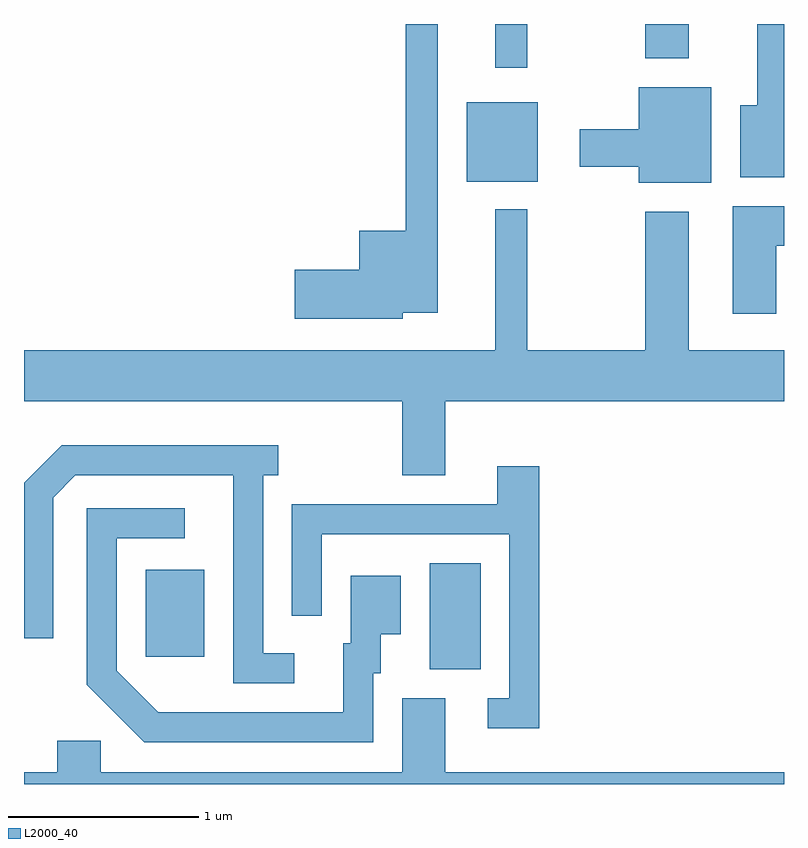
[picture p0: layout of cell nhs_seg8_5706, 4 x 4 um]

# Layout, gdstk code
import gdstk
lib = gdstk.Library(unit=1e-6, precision=1e-09)
def R(c, l, rs):  # rectangles x0, y0, x1, y1
    for r in rs: c.add(gdstk.rectangle(r[:2], r[2:], *l))
def P(c, l, *ps):  # polygons
    for p in ps: c.add(gdstk.Polygon(p, *l))
L2000_40 = (2000, 40)

nhs_seg8_5706 = lib.new_cell('nhs_seg8_5706')
R(nhs_seg8_5706, L2000_40, [(357.746,1894.946,358.014,1895.504), (356.251,1895.011,356.559,1895.469), (357.941,1897.511,358.314,1897.929), (358.091,1898.113,358.259,1898.342), (358.881,1898.161,359.109,1898.342)])
P(nhs_seg8_5706, L2000_40, [(357.604,1896.821),(357.789,1896.821),(357.789,1898.342),(357.621,1898.342),(357.621,1897.254),(357.376,1897.254),(357.376,1897.049),(357.036,1897.049),(357.036,1896.791),(357.604,1896.791)],
  [(359.611,1898.342),(359.471,1898.342),(359.471,1897.914),(359.381,1897.914),(359.381,1897.536),(359.611,1897.536)],
  [(359.229,1898.009),(358.846,1898.009),(358.846,1897.789),(358.536,1897.789),(358.536,1897.591),(358.846,1897.591),(358.846,1897.506),(359.229,1897.506)],
  [(359.569,1897.176),(359.611,1897.176),(359.611,1897.384),(359.341,1897.384),(359.341,1896.816),(359.569,1896.816)],
  [(357.829,1896.356),(359.611,1896.356),(359.611,1896.624),(359.109,1896.624),(359.109,1897.354),(358.881,1897.354),(358.881,1896.624),(358.259,1896.624),(358.259,1897.368),(358.091,1897.368),(358.091,1896.624),(355.611,1896.624),(355.611,1896.356),(357.601,1896.356),(357.601,1895.966),(357.829,1895.966)],
  [(357.033,1895.029),(356.869,1895.029),(356.869,1895.966),(356.948,1895.966),(356.948,1896.124),(355.809,1896.124),(355.611,1895.927),(355.611,1895.108),(355.764,1895.108),(355.764,1895.849),(355.882,1895.966),(356.711,1895.966),(356.711,1894.871),(357.033,1894.871)],
  [(358.324,1896.014),(358.101,1896.014),(358.101,1895.814),(357.021,1895.814),(357.021,1895.228),(357.179,1895.228),(357.179,1895.656),(358.166,1895.656),(358.166,1894.794),(358.053,1894.794),(358.053,1894.636),(358.324,1894.636)],
  [(357.449,1894.926),(357.489,1894.926),(357.489,1895.131),(357.594,1895.131),(357.594,1895.439),(357.331,1895.439),(357.331,1895.084),(357.291,1895.084),(357.291,1894.719),(356.317,1894.719),(356.099,1894.937),(356.099,1895.636),(356.458,1895.636),(356.458,1895.794),(355.941,1895.794),(355.941,1894.864),(356.244,1894.561),(357.449,1894.561)],
  [(357.601,1894.794),(357.601,1894.404),(356.014,1894.404),(356.014,1894.569),(355.786,1894.569),(355.786,1894.404),(355.611,1894.404),(355.611,1894.342),(359.611,1894.342),(359.611,1894.404),(357.829,1894.404),(357.829,1894.794)])

lib.write_gds('nhs_seg8_5706.gds')
